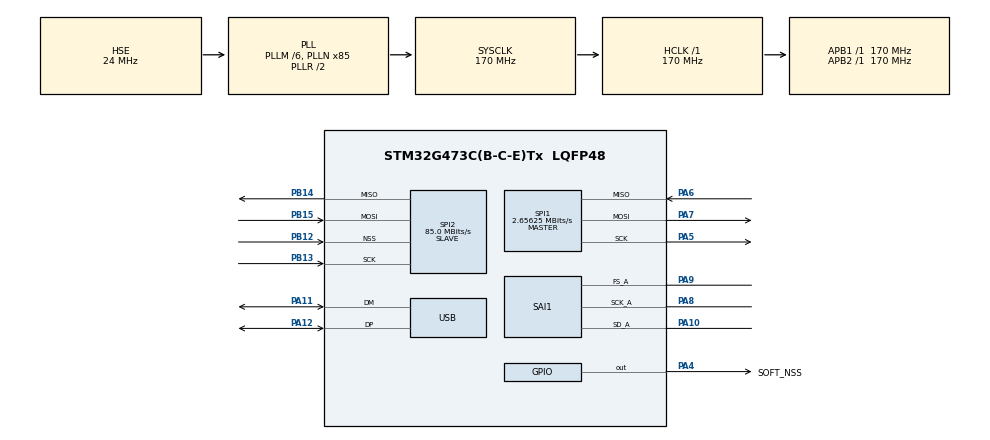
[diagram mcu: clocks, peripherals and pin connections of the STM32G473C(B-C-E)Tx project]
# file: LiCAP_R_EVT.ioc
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Mcu.Family=STM32G4
Dma.SPI2_TX.4.MemInc=DMA_MINC_ENABLE
Dma.SPI1_RX.3.SyncRequestNumber=1
Dma.SPI1_RX.3.SyncPolarity=HAL_DMAMUX_SYNC_NO_EVENT
PA6.Mode=Full_Duplex_Master
Dma.SPI1_TX.0.MemInc=DMA_MINC_ENABLE
USB_DEVICE.CLASS_NAME_FS=CDC
Dma.SPI1_TX.0.EventEnable=DISABLE
SPI2.VirtualNSS=VM_NSSHARD
Dma.SPI1_TX.0.PeriphInc=DMA_PINC_DISABLE
Dma.SPI2_RX.1.MemDataAlignment=DMA_MDATAALIGN_BYTE
RCC.CortexFreq_Value=170000000
SAI1.VirtualMode-SAI_A_AsyncSlave=VM_SLAVE
SPI1.VirtualType=VM_MASTER
Dma.SPI1_RX.3.PeriphInc=DMA_PINC_DISABLE
SPI2.VirtualType=VM_SLAVE
SAI1.FrameLength-SAI_A_AsyncSlave=256
Dma.SPI1_RX.3.Instance=DMA2_Channel4
PA11.Mode=Device
Dma.SPI2_RX.1.Polarity=HAL_DMAMUX_REQ_GEN_RISING
Dma.SPI1_TX.0.SyncRequestNumber=1
Dma.SPI2_TX.4.RequestNumber=1
Dma.SPI2_TX.4.Mode=DMA_CIRCULAR
Dma.SPI2_RX.1.Mode=DMA_CIRCULAR
PB13.Signal=SPI2_SCK
PB15.Signal=SPI2_MOSI
Dma.SPI1_RX.3.Mode=DMA_NORMAL
Dma.SPI2_RX.1.Direction=DMA_PERIPH_TO_MEMORY
Dma.SPI2_TX.4.PeriphDataAlignment=DMA_PDATAALIGN_BYTE
RCC.SYSCLKSource=RCC_SYSCLKSOURCE_PLLCLK
ProjectManager.StackSize=0x1000
Dma.SPI1_RX.3.MemDataAlignment=DMA_MDATAALIGN_BYTE
VP_FREERTOS_VS_CMSIS_V2.Mode=CMSIS_V2
Dma.SPI2_TX.4.PeriphInc=DMA_PINC_DISABLE
SAI1.Instance-SAI_A_AsyncSlave=SAI$Index_Block_A
Dma.SPI2_RX.1.PeriphDataAlignment=DMA_PDATAALIGN_BYTE
Dma.SPI1_RX.3.Priority=DMA_PRIORITY_LOW
PA12.Signal=USB_DP
SAI1.VirtualSlotActive-SAI_A_AsyncSlave=SAI_SLOTACTIVE_ALL
SPI1.Direction=SPI_DIRECTION_2LINES
USB_DEVICE.USBD_MAX_NUM_INTERFACES=4
RCC.HCLKFreq_Value=170000000
RCC.APB2TimFreq_Value=170000000
Dma.SAI1_A.2.RequestNumber=1
Dma.SPI2_RX.1.RequestNumber=1
SPI1.CalculateBaudRate=2.65625 MBits/s
Dma.SPI2_TX.4.Polarity=HAL_DMAMUX_REQ_GEN_RISING
RCC.AHBFreq_Value=170000000
Dma.SPI1_RX.3.SignalID=NONE
NVIC.DMA2_Channel2_IRQn=true\:5\:0\:false\:false\:true\:true\:false\:true
RCC.HSE_VALUE=24000000
RCC.ADC12Freq_Value=170000000
PA4.GPIO_Speed=GPIO_SPEED_FREQ_VERY_HIGH
Dma.SPI2_TX.4.SyncPolarity=HAL_DMAMUX_SYNC_NO_EVENT
Dma.SPI2_TX.4.EventEnable=DISABLE
SAI1.SlotNumber-SAI_A_AsyncSlave=8
NVIC.DMA2_Channel4_IRQn=true\:0\:0\:false\:false\:true\:false\:false\:true
PB14.Mode=Full_Duplex_Slave
VP_SYS_VS_tim1.Mode=TIM1
Dma.SPI1_RX.3.Direction=DMA_PERIPH_TO_MEMORY
SPI1.DataSize=SPI_DATASIZE_8BIT
SPI2.CalculateBaudRate=85.0 MBits/s
VP_SYS_VS_DBSignals.Mode=DisableDeadBatterySignals
PA8.Signal=SAI1_SCK_A
Dma.SPI1_TX.0.RequestNumber=1
NVIC.DMA2_Channel3_IRQn=true\:0\:0\:false\:false\:true\:false\:false\:true
Dma.SAI1_A.2.EventEnable=DISABLE
Dma.SPI1_TX.0.Polarity=HAL_DMAMUX_REQ_GEN_RISING
Dma.SAI1_A.2.Direction=DMA_PERIPH_TO_MEMORY
FREERTOS.configTOTAL_HEAP_SIZE=16384
Dma.SPI2_RX.1.SyncRequestNumber=1
Dma.SPI1_TX.0.Mode=DMA_NORMAL
Mcu.Package=LQFP48
PA6.Signal=SPI1_MISO
PB12.Mode=NSS_Signal_Hard_Input
NVIC.TimeBase=TIM1_UP_TIM16_IRQn
SPI2.Mode=SPI_MODE_SLAVE
Dma.SPI1_TX.0.SyncEnable=DISABLE
SAI1.DataSize-SAI_A_AsyncSlave=SAI_DATASIZE_24
NVIC.TimeBaseIP=TIM1
PA10.Signal=SAI1_SD_A
Dma.SPI2_RX.1.Instance=DMA2_Channel1
NVIC.USB_LP_IRQn=true\:5\:0\:false\:false\:true\:true\:false\:true
SPI2.CLKPhase=SPI_PHASE_2EDGE
SAI1.SlotActive-SAI_A_AsyncSlave=0x0000FFFF
Dma.Request2=SAI1_A
Dma.Request1=SPI2_RX
RCC.APB1TimFreq_Value=170000000
Dma.Request4=SPI2_TX
Dma.Request3=SPI1_RX
SPI2.Direction=SPI_DIRECTION_2LINES
PB13.Mode=Full_Duplex_Slave
RCC.CK48CLockSelection=RCC_USBCLKSOURCE_HSI48
Dma.SPI1_TX.0.SyncSignalID=NONE
PF1-OSC_OUT.Mode=HSE-External-Oscillator
Dma.Request0=SPI1_TX
SPI1.BaudRatePrescaler=SPI_BAUDRATEPRESCALER_64
SAI1.SlotSize-SAI_A_AsyncSlave=SAI_SLOTSIZE_32B
Dma.SPI2_RX.1.SyncPolarity=HAL_DMAMUX_SYNC_NO_EVENT
PA4.GPIO_Label=SOFT_NSS
PF1-OSC_OUT.Signal=RCC_OSC_OUT
RCC.HSI48_VALUE=48000000
Dma.SPI1_RX.3.Polarity=HAL_DMAMUX_REQ_GEN_RISING
Dma.SAI1_A.2.Mode=DMA_CIRCULAR
PA5.Mode=Full_Duplex_Master
Dma.SPI2_TX.4.SignalID=NONE
RCC.PLLSourceVirtual=RCC_PLLSOURCE_HSE
FREERTOS.Tasks01=defaultTask,24,128,StartDefaultTask,Default,NULL,Dynamic,NULL,NULL
PA7.Mode=Full_Duplex_Master
PA10.Mode=SAI_A_AsyncSlave
Dma.SPI2_TX.4.Direction=DMA_MEMORY_TO_PERIPH
USB_DEVICE.VirtualModeFS=Cdc_FS
Dma.SPI2_TX.4.Priority=DMA_PRIORITY_VERY_HIGH
Dma.SAI1_A.2.Instance=DMA1_Channel2
Dma.SPI2_TX.4.SyncRequestNumber=1
RCC.EXTERNAL_CLOCK_VALUE=12288000
Dma.SPI2_TX.4.SyncSignalID=NONE
Dma.SAI1_A.2.SyncRequestNumber=1
Dma.SAI1_A.2.MemInc=DMA_MINC_ENABLE
Dma.SPI2_RX.1.EventEnable=DISABLE
Dma.SPI2_RX.1.SyncSignalID=NONE
Dma.SPI1_TX.0.SignalID=NONE
Dma.SAI1_A.2.PeriphInc=DMA_PINC_DISABLE
Dma.SAI1_A.2.Priority=DMA_PRIORITY_VERY_HIGH
Dma.SAI1_A.2.SignalID=NONE
PA9.Mode=SAI_A_AsyncSlave
Dma.SPI2_TX.4.SyncEnable=DISABLE
Dma.SPI2_TX.4.Instance=DMA2_Channel2
PA4.PinState=GPIO_PIN_SET
NVIC.DMA1_Channel2_IRQn=true\:5\:0\:false\:false\:true\:true\:false\:true
ProjectManager.TargetToolchain=SW4STM32
Dma.SAI1_A.2.SyncPolarity=HAL_DMAMUX_SYNC_NO_EVENT
Dma.SPI1_TX.0.PeriphDataAlignment=DMA_PDATAALIGN_BYTE
Dma.SPI1_TX.0.Direction=DMA_MEMORY_TO_PERIPH
VP_USB_DEVICE_VS_USB_DEVICE_CDC_FS.Mode=CDC_FS
PA9.Signal=SAI1_FS_A
Dma.SPI1_TX.0.SyncPolarity=HAL_DMAMUX_SYNC_NO_EVENT
Dma.SPI1_RX.3.EventEnable=DISABLE
Dma.SAI1_A.2.MemDataAlignment=DMA_MDATAALIGN_HALFWORD
RCC.USBFreq_Value=48000000
RCC.LSE_VALUE=32768
PF0-OSC_IN.Mode=HSE-External-Oscillator
Dma.SPI1_RX.3.MemInc=DMA_MINC_ENABLE
PB14.Signal=SPI2_MISO
PA5.Signal=SPI1_SCK
board=custom
RCC.VCOOutputFreq_Value=340000000
Dma.SPI1_RX.3.SyncEnable=DISABLE
PB15.Mode=Full_Duplex_Slave
Dma.SPI2_RX.1.SyncEnable=DISABLE
Dma.SPI2_RX.1.SignalID=NONE
RCC.ADC345Freq_Value=170000000
RCC.APB2Freq_Value=170000000
Dma.SPI2_RX.1.Priority=DMA_PRIORITY_VERY_HIGH
Dma.SAI1_A.2.SyncEnable=DISABLE
SPI1.Mode=SPI_MODE_MASTER
Dma.SPI2_TX.4.MemDataAlignment=DMA_MDATAALIGN_BYTE
Dma.SPI1_TX.0.Instance=DMA2_Channel3
Mcu.Name=STM32G473C(B-C-E)Tx
Dma.SPI2_RX.1.PeriphInc=DMA_PINC_DISABLE
PA4.Signal=GPIO_Output
RCC.SYSCLKFreq_VALUE=170000000
Dma.SPI1_RX.3.RequestNumber=1
PA12.Mode=Device
Dma.SPI1_RX.3.PeriphDataAlignment=DMA_PDATAALIGN_BYTE
Dma.SAI1_A.2.PeriphDataAlignment=DMA_PDATAALIGN_WORD
PA11.Signal=USB_DM
NVIC.DMA2_Channel1_IRQn=true\:5\:0\:false\:false\:true\:true\:false\:true
ProjectManager.HeapSize=0x1000
Dma.SPI1_TX.0.Priority=DMA_PRIORITY_HIGH
Dma.SPI1_TX.0.MemDataAlignment=DMA_MDATAALIGN_BYTE
RCC.HSI_VALUE=16000000
NVIC.TIM1_UP_TIM16_IRQn=true\:0\:0\:false\:false\:true\:false\:false\:true
Dma.SAI1_A.2.SyncSignalID=NONE
NVIC.PriorityGroup=NVIC_PRIORITYGROUP_4
RCC.PLLM=RCC_PLLM_DIV6
RCC.PLLN=85
PA8.Mode=SAI_A_AsyncSlave
SPI2.DataSize=SPI_DATASIZE_8BIT
PF0-OSC_IN.Signal=RCC_OSC_IN
Dma.SPI1_RX.3.SyncSignalID=NONE
RCC.APB1Freq_Value=170000000
USB_DEVICE.VirtualMode=Cdc
Dma.SPI2_RX.1.MemInc=DMA_MINC_ENABLE
SPI2.TIMode=SPI_TIMODE_DISABLE
PB12.Signal=SPI2_NSS
Dma.SAI1_A.2.Polarity=HAL_DMAMUX_REQ_GEN_RISING
PA7.Signal=SPI1_MOSI

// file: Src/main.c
/* USER CODE BEGIN Header */
/**
  ******************************************************************************
  * @file           : main.c
  * @brief          : Main program body
  ******************************************************************************
  * @attention
  *
  * <h2><center>&copy; Copyright (c) 2020 STMicroelectronics.
  * All rights reserved.</center></h2>
  *
  * This software component is licensed by ST under Ultimate Liberty license
  * SLA0044, the "License"; You may not use this file except in compliance with
  * the License. You may obtain a copy of the License at:
  *                             www.st.com/SLA0044
  *
  ******************************************************************************
  */
/* USER CODE END Header */

#include "main.h"
#include "cmsis_os.h"
#include "dma.h"
#include "sai.h"
#include "spi.h"
#include "usb_device.h"
#include "gpio.h"

/* USER CODE BEGIN Includes */
#include "dfu_utility.h"
#include <stm32g4xx_hal_flash_ex.h>
/* USER CODE END Includes */

void SystemClock_Config(void);
void MX_FREERTOS_Init(void);

int main(void)
{
  /* USER CODE BEGIN 1 */

  __HAL_RCC_SYSCFG_CLK_ENABLE();
  /* USER CODE END 1 */

  /* MCU Configuration--------------------------------------------------------*/

  /* Reset of all peripherals, Initializes the Flash interface and the Systick. */
  HAL_Init();

  /* Configure the system clock */
  SystemClock_Config();

  /* Initialize all configured peripherals */
  MX_GPIO_Init();
  MX_DMA_Init();
  MX_USB_Device_Init();
  MX_SAI1_Init();
  MX_SPI1_Init();
  MX_SPI2_Init();

  /* Init scheduler */
  osKernelInitialize();  /* Call init function for freertos objects (in freertos.c) */
  MX_FREERTOS_Init();
  /* Start scheduler */
  osKernelStart();

  /* We should never get here as control is now taken by the scheduler */
  /* Infinite loop */
  while (1)
  {

  }
}

void SystemClock_Config(void)
{
  RCC_OscInitTypeDef RCC_OscInitStruct = {0};
  RCC_ClkInitTypeDef RCC_ClkInitStruct = {0};
  RCC_PeriphCLKInitTypeDef PeriphClkInit = {0};

  /** Configure the main internal regulator output voltage
  */
  HAL_PWREx_ControlVoltageScaling(PWR_REGULATOR_VOLTAGE_SCALE1_BOOST);
  /** Initializes the CPU, AHB and APB busses clocks
  */
  RCC_OscInitStruct.OscillatorType = RCC_OSCILLATORTYPE_HSI48|RCC_OSCILLATORTYPE_HSE;
  RCC_OscInitStruct.HSEState = RCC_HSE_ON;
  RCC_OscInitStruct.HSI48State = RCC_HSI48_ON;
  RCC_OscInitStruct.PLL.PLLState = RCC_PLL_ON;
  RCC_OscInitStruct.PLL.PLLSource = RCC_PLLSOURCE_HSE;
  RCC_OscInitStruct.PLL.PLLM = RCC_PLLM_DIV6;
  RCC_OscInitStruct.PLL.PLLN = 85;
  RCC_OscInitStruct.PLL.PLLP = RCC_PLLP_DIV2;
  RCC_OscInitStruct.PLL.PLLQ = RCC_PLLQ_DIV2;
  RCC_OscInitStruct.PLL.PLLR = RCC_PLLR_DIV2;
  if (HAL_RCC_OscConfig(&RCC_OscInitStruct) != HAL_OK)
  {
    Error_Handler();
  }
  /** Initializes the CPU, AHB and APB busses clocks
  */
  RCC_ClkInitStruct.ClockType = RCC_CLOCKTYPE_HCLK|RCC_CLOCKTYPE_SYSCLK
                              |RCC_CLOCKTYPE_PCLK1|RCC_CLOCKTYPE_PCLK2;
  RCC_ClkInitStruct.SYSCLKSource = RCC_SYSCLKSOURCE_PLLCLK;
  RCC_ClkInitStruct.AHBCLKDivider = RCC_SYSCLK_DIV1;
  RCC_ClkInitStruct.APB1CLKDivider = RCC_HCLK_DIV1;
  RCC_ClkInitStruct.APB2CLKDivider = RCC_HCLK_DIV1;

  if (HAL_RCC_ClockConfig(&RCC_ClkInitStruct, FLASH_LATENCY_8) != HAL_OK)
  {
    Error_Handler();
  }
  /** Initializes the peripherals clocks
  */
  PeriphClkInit.PeriphClockSelection = RCC_PERIPHCLK_SAI1|RCC_PERIPHCLK_USB;
  PeriphClkInit.Sai1ClockSelection = RCC_SAI1CLKSOURCE_SYSCLK;
  PeriphClkInit.UsbClockSelection = RCC_USBCLKSOURCE_HSI48;
  if (HAL_RCCEx_PeriphCLKConfig(&PeriphClkInit) != HAL_OK)
  {
    Error_Handler();
  }
}

 /**
  * @brief  Period elapsed callback in non blocking mode
  * @note   This function is called  when TIM1 interrupt took place, inside
  * HAL_TIM_IRQHandler(). It makes a direct call to HAL_IncTick() to increment
  * a global variable "uwTick" used as application time base.
  * @param  htim : TIM handle
  * @retval None
  */
void HAL_TIM_PeriodElapsedCallback(TIM_HandleTypeDef *htim)
{
  if (htim->Instance == TIM1) {
    HAL_IncTick();
  }
}

void Error_Handler(void)
{
}

/************************ (C) COPYRIGHT STMicroelectronics *****END OF FILE****/

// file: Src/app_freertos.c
/* USER CODE BEGIN Header */
/**
  ******************************************************************************
  * File Name          : app_freertos.c
  * Description        : Code for freertos applications
  ******************************************************************************
  * @attention
  *
  * <h2><center>&copy; Copyright (c) 2020 STMicroelectronics.
  * All rights reserved.</center></h2>
  *
  * This software component is licensed by ST under Ultimate Liberty license
  * SLA0044, the "License"; You may not use this file except in compliance with
  * the License. You may obtain a copy of the License at:
  *                             www.st.com/SLA0044
  *
  ******************************************************************************
  */
/* USER CODE END Header */

#include "FreeRTOS.h"
#include "task.h"
#include "main.h"
#include "cmsis_os.h"

/* USER CODE BEGIN Includes */
#include "usbd_cdc_if.h"
#include "sai.h"
#include "spi.h"
#include "main.h"
#include "protocol.h"
#include "protocol_spi.h"
#include "dfu_utility.h"
/* USER CODE END Includes */

/* USER CODE BEGIN PD */
#define FRAME_SIZE 256
/* USER CODE END PD */

/* USER CODE BEGIN Variables */
// 8 channel, buffer size, double buffer
uint16_t buf[8*FRAME_SIZE*2];
extern USBD_HandleTypeDef hUsbDeviceFS;
osStreamId_t usbInputStream;

osThreadId_t spiIOHandle;
const osThreadAttr_t spiIOTask_attributes = {
        .name = "spi",
        .priority = (osPriority_t) osPriorityRealtime,
        .stack_size = 128 * 4
};

void SpiIOWorker(void const *);

/* USER CODE END Variables */
/* Definitions for defaultTask */
osThreadId_t defaultTaskHandle;
const osThreadAttr_t defaultTask_attributes = {
  .name = "defaultTask",
  .priority = (osPriority_t) osPriorityNormal,
  .stack_size = 128 * 4
};

void StartDefaultTask(void *argument);

void MX_FREERTOS_Init(void); /* (MISRA C 2004 rule 8.1) */

void MX_FREERTOS_Init(void) {
  /* USER CODE BEGIN Init */
  usbInputStream = osStreamNew(64);
  /* USER CODE END Init */

  /* Create the thread(s) */
  /* creation of defaultTask */
  defaultTaskHandle = osThreadNew(StartDefaultTask, NULL, &defaultTask_attributes);

  /* USER CODE BEGIN RTOS_THREADS */
  /* add threads, ... */
  spiIOHandle = osThreadNew(SpiIOWorker, NULL, &spiIOTask_attributes);
  /* USER CODE END RTOS_THREADS */

}

void StartDefaultTask(void *argument)
{
  /* USER CODE BEGIN StartDefaultTask */
  osDelay(4000);

  extern osStreamId_t usbInputStream;
  USBD_DCDC_HandleTypeDef *hcdc = (USBD_DCDC_HandleTypeDef*)hUsbDeviceFS.pClassData;
  HAL_SAI_Receive_DMA(&hsai_BlockA1, (uint8_t *)buf, sizeof(buf)/sizeof(uint16_t));

  uint8_t rx_buf[4]="DICK";
  uint8_t usb_tx[8];
  uint32_t len;
  /* Infinite loop */
  for(;;)
  {
    if (len = osStreamGet(usbInputStream, rx_buf, 1, osWaitForever)) {
        //chip_switch_led(1, 0);

        if(get_bank())
          CDC_Transmit_FS(&hcdc->CDC2, "BANK2\r\n", 6);
        else
          CDC_Transmit_FS(&hcdc->CDC2, "BANK1\r\n", 6);

        continue;
        //CDC_Transmit_FS(&hcdc->CDC1, "fuck\n", 5);
        //HAL_SPI_Receive_DMA(&hspi2, rx_buf, 4);
        //while(HAL_SPI_GetState(&hspi2) != HAL_SPI_STATE_READY);
        switch(rx_buf[0]) {
            case OP_RETURN:
                // not necessary
                break;
            case OP_KNOCK:
                usb_tx[0] = OP_RETURN; usb_tx[1]=OP_KNOCK;
                CDC_Transmit_FS(&hcdc->CDC2, usb_tx, 2);
                break;
            case OP_MODE:
                usb_tx[0] = OP_RETURN; usb_tx[1]=APP;
                CDC_Transmit_FS(&hcdc->CDC2, usb_tx, 2);
                break;
            case OP_REBOOT:
                break;
            case OP_REBOOT_DFU:
                break;

        }

    }
    /*

    HAL_GPIO_WritePin(SOFT_NSS_GPIO_Port, SOFT_NSS_Pin, GPIO_PIN_RESET);
    HAL_SPI_Transmit_DMA(&hspi1, "fuck", 4);
    while(HAL_SPI_GetState(&hspi1) != HAL_SPI_STATE_READY);
    HAL_GPIO_WritePin(SOFT_NSS_GPIO_Port, SOFT_NSS_Pin, GPIO_PIN_SET);

    osDelay(1000);
    */
  }
  /* USER CODE END StartDefaultTask */
}

/* USER CODE BEGIN Application */
static uint8_t spi2_dma_rx_buf[CMD_SIZE] = "";
static uint32_t rx_len = CMD_SIZE;
static uint8_t spi2_dma_tx_buf[CMD_SIZE] = "ggg";

static void print_cmd_hex(const char *str, const uint8_t *arr)
{
    USBD_DCDC_HandleTypeDef *hcdc = (USBD_DCDC_HandleTypeDef*)hUsbDeviceFS.pClassData;
    //CDC_Transmit_FS(&hcdc->CDC2, str, strlen(str));
}

void SpiIOWorker(void const * argument)
{
    osDelay(4000);
    init_chip_stream();
    memset(spi2_dma_rx_buf, 0, CMD_SIZE);

    uint8_t tx_buf[CMD_SIZE] = "";
    uint8_t rx_buf[CMD_SIZE] = "";
    uint32_t len;
    HAL_SPI_TransmitReceive_DMA(&hspi2, spi2_dma_tx_buf, spi2_dma_rx_buf, rx_len);
    /* Infinite loop */
    for(;;)
    {
        if (len = osStreamGet(chip_output_stream, tx_buf, CMD_SIZE, 1)) {
            HAL_GPIO_WritePin(SOFT_NSS_GPIO_Port, SOFT_NSS_Pin, GPIO_PIN_RESET);
            //HAL_GPIO_WritePin(LED_RED_GPIO_Port, LED_RED_Pin, GPIO_PIN_SET);
            memset(rx_buf, 0, CMD_SIZE);
            HAL_SPI_TransmitReceive_DMA(&hspi1, tx_buf, rx_buf, CMD_SIZE);
            print_cmd_hex("spi transmit data: ", tx_buf);
            while(HAL_SPI_GetState(&hspi1) != HAL_SPI_STATE_READY);
            HAL_GPIO_WritePin(SOFT_NSS_GPIO_Port, SOFT_NSS_Pin, GPIO_PIN_SET);

        }

        osDelay(1);
    }
}
void HAL_SPI_TxRxCpltCallback(SPI_HandleTypeDef *hspi)
{
    if(hspi == &hspi2)
    {
        //osStreamPut(chip_input_stream, spi2_dma_rx_buf, rx_len, 1);
        print_cmd_hex("spi receive data: ", spi2_dma_rx_buf);
        parse_chip_received_cmd(spi2_dma_rx_buf);
        memset(spi2_dma_rx_buf, 0, CMD_SIZE);
    }
}

extern USBD_HandleTypeDef hUsbDeviceFS;
void HAL_SAI_RxHalfCpltCallback(SAI_HandleTypeDef *hsai)
{
  /* Prevent unused argument(s) compilation warning */
  UNUSED(hsai);

  /* NOTE : This function should not be modified, when the callback is needed,
            the HAL_SAI_RxHalfCpltCallback could be implemented in the user file
   */

  USBD_DCDC_HandleTypeDef *hcdc = (USBD_DCDC_HandleTypeDef*)hUsbDeviceFS.pClassData;
  volatile int ret = CDC_Transmit_FS(&hcdc->CDC1, (uint8_t *)buf, 8*FRAME_SIZE*sizeof(uint16_t));
  ret *= 1;
}

void HAL_SAI_RxCpltCallback(SAI_HandleTypeDef *hsai)
{
  /* Prevent unused argument(s) compilation warning */
  UNUSED(hsai);

  /* NOTE : This function should not be modified, when the callback is needed,
            the HAL_SAI_RxCpltCallback could be implemented in the user file
   */

  USBD_DCDC_HandleTypeDef *hcdc = (USBD_DCDC_HandleTypeDef*)hUsbDeviceFS.pClassData;
  volatile int ret = CDC_Transmit_FS(&hcdc->CDC1, (uint8_t *)(buf+8*FRAME_SIZE), 8*FRAME_SIZE*sizeof(uint16_t));
  ret *= 1;
}
/* USER CODE END Application */

/************************ (C) COPYRIGHT STMicroelectronics *****END OF FILE****/
